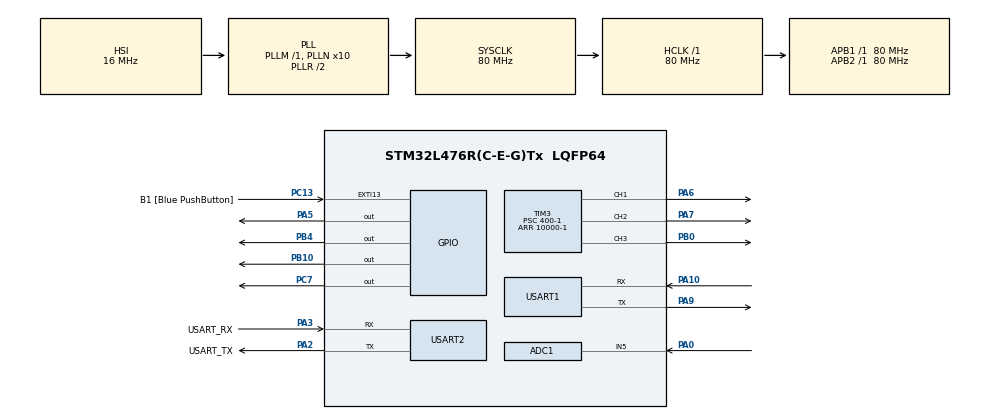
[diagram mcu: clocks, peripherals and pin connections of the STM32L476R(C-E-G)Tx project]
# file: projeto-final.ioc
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ADC1.Channel-0\#ChannelRegularConversion=ADC_CHANNEL_5
ADC1.NbrOfConversionFlag=1
ADC1.OffsetNumber-0\#ChannelRegularConversion=ADC_OFFSET_NONE
ADC1.Rank-0\#ChannelRegularConversion=1
ADC1.SamplingTime-0\#ChannelRegularConversion=ADC_SAMPLETIME_2CYCLES_5
ADC1.master=1
FREERTOS.Tasks01=defaultTask,0,128,StartDefaultTask,Default,NULL,Dynamic,NULL,NULL
FREERTOS.configUSE_NEWLIB_REENTRANT=1
Mcu.Family=STM32L4
Mcu.Name=STM32L476R(C-E-G)Tx
Mcu.Package=LQFP64
NVIC.PriorityGroup=NVIC_PRIORITYGROUP_4
NVIC.TIM1_UP_TIM16_IRQn=true\:15\:0\:false\:false\:true\:false\:false\:true\:true
NVIC.TIM3_IRQn=true\:5\:0\:false\:false\:true\:true\:true\:true\:true
NVIC.TimeBase=TIM1_UP_TIM16_IRQn
NVIC.TimeBaseIP=TIM1
NVIC.USART2_IRQn=true\:5\:0\:false\:false\:true\:true\:true\:true\:true
PA0.Signal=ADCx_IN5
PA10.Mode=Asynchronous
PA10.Signal=USART1_RX
PA13\ (JTMS-SWDIO).GPIO_Label=TMS
PA13\ (JTMS-SWDIO).Mode=Serial_Wire
PA13\ (JTMS-SWDIO).Signal=SYS_JTMS-SWDIO
PA14\ (JTCK-SWCLK).GPIO_Label=TCK
PA14\ (JTCK-SWCLK).Mode=Serial_Wire
PA14\ (JTCK-SWCLK).Signal=SYS_JTCK-SWCLK
PA2.GPIO_Label=USART_TX
PA2.GPIO_Mode=GPIO_MODE_AF_PP
PA2.GPIO_PuPd=GPIO_NOPULL
PA2.GPIO_Speed=GPIO_SPEED_FREQ_VERY_HIGH
PA2.Mode=Asynchronous
PA2.Signal=USART2_TX
PA3.GPIO_Label=USART_RX
PA3.GPIO_Mode=GPIO_MODE_AF_PP
PA3.GPIO_PuPd=GPIO_NOPULL
PA3.GPIO_Speed=GPIO_SPEED_FREQ_VERY_HIGH
PA3.Mode=Asynchronous
PA3.Signal=USART2_RX
PA5.Signal=GPIO_Output
PA6.Signal=S_TIM3_CH1
PA7.Signal=S_TIM3_CH2
PA9.Mode=Asynchronous
PA9.Signal=USART1_TX
PB0.Signal=S_TIM3_CH3
PB10.Signal=GPIO_Output
PB3\ (JTDO-TRACESWO).GPIO_Label=SWO
PB3\ (JTDO-TRACESWO).Signal=SYS_JTDO-SWO
PB4\ (NJTRST).Signal=GPIO_Output
PC13.GPIO_Label=B1 [Blue PushButton]
PC13.GPIO_ModeDefaultEXTI=GPIO_MODE_IT_FALLING
PC13.GPIO_PuPd=GPIO_NOPULL
PC13.Signal=GPXTI13
PC14-OSC32_IN\ (PC14).Mode=LSE-External-Oscillator
PC14-OSC32_IN\ (PC14).Signal=RCC_OSC32_IN
PC15-OSC32_OUT\ (PC15).Mode=LSE-External-Oscillator
PC15-OSC32_OUT\ (PC15).Signal=RCC_OSC32_OUT
PC7.Signal=GPIO_Output
PH0-OSC_IN\ (PH0).Signal=RCC_OSC_IN
PH1-OSC_OUT\ (PH1).Signal=RCC_OSC_OUT
ProjectManager.HeapSize=0x200
ProjectManager.StackSize=0x400
ProjectManager.TargetToolchain=STM32CubeIDE
RCC.ADCFreq_Value=64000000
RCC.AHBFreq_Value=80000000
RCC.APB1Freq_Value=80000000
RCC.APB1TimFreq_Value=80000000
RCC.APB2Freq_Value=80000000
RCC.APB2TimFreq_Value=80000000
RCC.CortexFreq_Value=80000000
RCC.HCLKFreq_Value=80000000
RCC.HSE_VALUE=8000000
RCC.HSI_VALUE=16000000
RCC.MSI_VALUE=4000000
RCC.PLLN=10
RCC.PLLSourceVirtual=RCC_PLLSOURCE_HSI
RCC.PREFETCH_ENABLE=1
RCC.SYSCLKFreq_VALUE=80000000
RCC.SYSCLKSource=RCC_SYSCLKSOURCE_PLLCLK
RCC.USBFreq_Value=64000000
RCC.VCOOutputFreq_Value=160000000
SH.ADCx_IN5.0=ADC1_IN5,IN5-Single-Ended
SH.S_TIM3_CH1.0=TIM3_CH1,PWM Generation1 CH1
SH.S_TIM3_CH2.0=TIM3_CH2,PWM Generation2 CH2
SH.S_TIM3_CH3.0=TIM3_CH3,PWM Generation3 CH3
TIM2.Period=1000-1
TIM2.Prescaler=400-1
TIM3.Channel-PWM\ Generation1\ CH1=TIM_CHANNEL_1
TIM3.Channel-PWM\ Generation2\ CH2=TIM_CHANNEL_2
TIM3.Channel-PWM\ Generation3\ CH3=TIM_CHANNEL_3
TIM3.Period=10000-1
TIM3.Prescaler=400-1
USART1.VirtualMode-Asynchronous=VM_ASYNC
USART2.VirtualMode-Asynchronous=VM_ASYNC
VP_FREERTOS_VS_CMSIS_V1.Mode=CMSIS_V1
VP_SYS_VS_tim1.Mode=TIM1
VP_TIM2_VS_ClockSourceINT.Mode=Internal
VP_TIM3_VS_ClockSourceINT.Mode=Internal
board=NUCLEO-L476RG

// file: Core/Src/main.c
/* USER CODE BEGIN Header */
/**
  ******************************************************************************
  * @file           : main.c
  * @brief          : Main program body
  ******************************************************************************
  * @attention
  *
  * Copyright (c) 2022 STMicroelectronics.
  * All rights reserved.
  *
  * This software is licensed under terms that can be found in the LICENSE file
  * in the root directory of this software component.
  * If no LICENSE file comes with this software, it is provided AS-IS.
  *
  ******************************************************************************
  */
/* USER CODE END Header */
#include "main.h"
#include "cmsis_os.h"

/* USER CODE BEGIN Includes */
#include "stdio.h"
#include "stdlib.h"
#include "string.h"

/* USER CODE END Includes */

ADC_HandleTypeDef hadc1;

TIM_HandleTypeDef htim2;
TIM_HandleTypeDef htim3;

UART_HandleTypeDef huart1;
UART_HandleTypeDef huart2;

osThreadId defaultTaskHandle;

void SystemClock_Config(void);
static void MX_GPIO_Init(void);
static void MX_USART2_UART_Init(void);
static void MX_ADC1_Init(void);
static void MX_TIM2_Init(void);
static void MX_TIM3_Init(void);
static void MX_USART1_UART_Init(void);
void StartDefaultTask(void const * argument);

/* USER CODE BEGIN 0 */
/* USER CODE BEGIN 0 */

void sendChar(unsigned char c, int uart_number){
	unsigned char pChar = c;
	if(uart_number == 1)
		HAL_UART_Transmit(&huart1, &pChar,1 ,HAL_MAX_DELAY );
	else if(uart_number == 2)
		HAL_UART_Transmit(&huart2, &pChar, 1,HAL_MAX_DELAY );
}

void sendString(char * str, int uart_number){
	if(uart_number == 1)
		HAL_UART_Transmit(&huart1, (uint8_t *)str, strlen(str) ,HAL_MAX_DELAY );
	else if(uart_number == 2)
		HAL_UART_Transmit(&huart2, (uint8_t *)str, strlen(str) ,HAL_MAX_DELAY );
}

char readChar(int uart_number){
	unsigned char caracter = 255;

	if(uart_number == 1){
		HAL_UART_Receive(&huart1, &caracter, 1, 0);
	}
	else if(uart_number == 2){
		while(HAL_UART_Receive(&huart2, &caracter, 1, HAL_MAX_DELAY) != HAL_OK);
	}
	return caracter;
}

void recebe_da_node_mcu(void *vParam){
	unsigned char caracter;
	while(1){
		//Aguarda receber um caracter da UART1 que esta conectada ao Node MCU
		caracter = readChar(1);
		if (caracter == '1') {
			HAL_GPIO_WritePin(GPIOC, GPIO_PIN_7, 1);
//			HAL_GPIO_TogglePin(GPIOB, GPIO_PIN_4);
		} else if (caracter == '0'){
//			HAL_GPIO_WritePin(GPIOB, GPIO_PIN_10, 1); //verde
			HAL_GPIO_WritePin(GPIOC, GPIO_PIN_7, 0);
		}
		vTaskDelay(1);
	}
}

void envia_para_node_mcu( void *vParam){
	unsigned char caracter;

	while(1){
		//Aguarda receber um carcater do terminal serial
		caracter = readChar(2);
		//Envia o caracter para a UART 1 que está conectada a placa NodemCU
		sendChar(caracter, 1);
		vTaskDelay(1);
	}
}

int16_t readVoltage(void) {
	HAL_ADC_Start(&hadc1);
	HAL_ADC_PollForConversion(&hadc1, HAL_MAX_DELAY);
	return HAL_ADC_GetValue(&hadc1);
}

//void set_rgb (uint8_t red, uint8_t green, uint8_t blue)
//{
//	htim2.Instance->CCR1 = red;
//	htim2.Instance->CCR2 = green;
//	htim2.Instance->CCR3 = blue;
//}

//void acender_rgb()
//{
//	set_rgb(0, 255, 0);
//}

/* @brief Period elapsed callback in non blocking mode * @param htim: TIM handle
* @retval None
*/
//void HAL_TIM_PeriodElapsedCallback(TIM_HandleTypeDef *htim) {
//	if (htim->Instance == htim3.Instance) {
//		/* Toggle LED */
//		HAL_GPIO_TogglePin(GPIOA, GPIO_PIN_5);
//	}
//}

/* USER CODE END 0 */

int main(void)
{

  /* MCU Configuration--------------------------------------------------------*/

  /* Reset of all peripherals, Initializes the Flash interface and the Systick. */
  HAL_Init();

  /* Configure the system clock */
  SystemClock_Config();

  /* Initialize all configured peripherals */
  MX_GPIO_Init();
  MX_USART2_UART_Init();
  MX_ADC1_Init();
  MX_TIM2_Init();
  MX_TIM3_Init();
  MX_USART1_UART_Init();
  /* USER CODE BEGIN 2 */
  HAL_TIM_Base_Start_IT(&htim3);
  HAL_TIM_PWM_Start(&htim2, TIM_CHANNEL_2);
  HAL_TIM_PWM_Start(&htim2, TIM_CHANNEL_1);
  HAL_TIM_PWM_Start(&htim2, TIM_CHANNEL_3);
  /* USER CODE END 2 */

  /* Create the thread(s) */
  /* definition and creation of defaultTask */
  osThreadDef(defaultTask, StartDefaultTask, osPriorityNormal, 0, 128);
  defaultTaskHandle = osThreadCreate(osThread(defaultTask), NULL);

  /* USER CODE BEGIN RTOS_THREADS */

  xTaskCreate(recebe_da_node_mcu,
		  /* Nome da funcao que executa a task */
		  "recebe_da_node_mcu", /* Nome descritivo */
		  configMINIMAL_STACK_SIZE,
		  /* tamanho da pilha da task */
		  NULL, /* parametro para a task */
		  tskIDLE_PRIORITY, /* nivel de prioridade */
		  NULL); /* ponteiro para o handle da task */

  xTaskCreate(envia_para_node_mcu, /* Nome da funcao que executa a task */
		  "envia_para_node_mcu", /* Nome descritivo */
		  configMINIMAL_STACK_SIZE, /* tamanho da pilha da task */
		  NULL, /* parametro para a task */
		  tskIDLE_PRIORITY, /* nivel de prioridade */
 	  	  NULL); /* ponteiro para o handle da task */

//  xTaskCreate(acender_rgb, /* Nome da funcao que executa a task */
// 		  "envia_para_node_mcu", /* Nome descritivo */
// 		  configMINIMAL_STACK_SIZE, /* tamanho da pilha da task */
// 		  NULL, /* parametro para a task */
// 		  tskIDLE_PRIORITY, /* nivel de prioridade */
//  	  	  NULL); /* ponteiro para o handle da task */

  /* add threads, ... */
  /* USER CODE END RTOS_THREADS */

  /* Start scheduler */
  osKernelStart();

  /* We should never get here as control is now taken by the scheduler */
  /* Infinite loop */
  /* USER CODE BEGIN WHILE */
  while (1)
  {
//	  set_rgb (255,0,0);   // red only
//	  HAL_Delay (1000);
//
//	  set_rgb (0,255,0);   // green only
//	  HAL_Delay (1000);
//
//	  set_rgb (0,0,255);  // blue only
//	  HAL_Delay (1000);
//
//	  set_rgb (255,255,0);
//	  HAL_Delay(1000);
//
//	  set_rgb (0,255,255);
//	  HAL_Delay (1000);
//
//	  set_rgb (255,0,255);
//	  HAL_Delay (1000);
//
//	  set_rgb (192,192,192);
//	  HAL_Delay (1000);
//    /* USER CODE END WHILE */
//
//    /* USER CODE BEGIN 3 */
  }
  /* USER CODE END 3 */
}

void SystemClock_Config(void)
{
  RCC_OscInitTypeDef RCC_OscInitStruct = {0};
  RCC_ClkInitTypeDef RCC_ClkInitStruct = {0};

  /** Configure the main internal regulator output voltage
  */
  if (HAL_PWREx_ControlVoltageScaling(PWR_REGULATOR_VOLTAGE_SCALE1) != HAL_OK)
  {
    Error_Handler();
  }

  /** Initializes the RCC Oscillators according to the specified parameters
  * in the RCC_OscInitTypeDef structure.
  */
  RCC_OscInitStruct.OscillatorType = RCC_OSCILLATORTYPE_HSI;
  RCC_OscInitStruct.HSIState = RCC_HSI_ON;
  RCC_OscInitStruct.HSICalibrationValue = RCC_HSICALIBRATION_DEFAULT;
  RCC_OscInitStruct.PLL.PLLState = RCC_PLL_ON;
  RCC_OscInitStruct.PLL.PLLSource = RCC_PLLSOURCE_HSI;
  RCC_OscInitStruct.PLL.PLLM = 1;
  RCC_OscInitStruct.PLL.PLLN = 10;
  RCC_OscInitStruct.PLL.PLLP = RCC_PLLP_DIV7;
  RCC_OscInitStruct.PLL.PLLQ = RCC_PLLQ_DIV2;
  RCC_OscInitStruct.PLL.PLLR = RCC_PLLR_DIV2;
  if (HAL_RCC_OscConfig(&RCC_OscInitStruct) != HAL_OK)
  {
    Error_Handler();
  }

  /** Initializes the CPU, AHB and APB buses clocks
  */
  RCC_ClkInitStruct.ClockType = RCC_CLOCKTYPE_HCLK|RCC_CLOCKTYPE_SYSCLK
                              |RCC_CLOCKTYPE_PCLK1|RCC_CLOCKTYPE_PCLK2;
  RCC_ClkInitStruct.SYSCLKSource = RCC_SYSCLKSOURCE_PLLCLK;
  RCC_ClkInitStruct.AHBCLKDivider = RCC_SYSCLK_DIV1;
  RCC_ClkInitStruct.APB1CLKDivider = RCC_HCLK_DIV1;
  RCC_ClkInitStruct.APB2CLKDivider = RCC_HCLK_DIV1;

  if (HAL_RCC_ClockConfig(&RCC_ClkInitStruct, FLASH_LATENCY_4) != HAL_OK)
  {
    Error_Handler();
  }
}

static void MX_ADC1_Init(void)
{

  ADC_MultiModeTypeDef multimode = {0};
  ADC_ChannelConfTypeDef sConfig = {0};

  /** Common config
  */
  hadc1.Instance = ADC1;
  hadc1.Init.ClockPrescaler = ADC_CLOCK_ASYNC_DIV1;
  hadc1.Init.Resolution = ADC_RESOLUTION_12B;
  hadc1.Init.DataAlign = ADC_DATAALIGN_RIGHT;
  hadc1.Init.ScanConvMode = ADC_SCAN_DISABLE;
  hadc1.Init.EOCSelection = ADC_EOC_SINGLE_CONV;
  hadc1.Init.LowPowerAutoWait = DISABLE;
  hadc1.Init.ContinuousConvMode = DISABLE;
  hadc1.Init.NbrOfConversion = 1;
  hadc1.Init.DiscontinuousConvMode = DISABLE;
  hadc1.Init.ExternalTrigConv = ADC_SOFTWARE_START;
  hadc1.Init.ExternalTrigConvEdge = ADC_EXTERNALTRIGCONVEDGE_NONE;
  hadc1.Init.DMAContinuousRequests = DISABLE;
  hadc1.Init.Overrun = ADC_OVR_DATA_PRESERVED;
  hadc1.Init.OversamplingMode = DISABLE;
  if (HAL_ADC_Init(&hadc1) != HAL_OK)
  {
    Error_Handler();
  }

  /** Configure the ADC multi-mode
  */
  multimode.Mode = ADC_MODE_INDEPENDENT;
  if (HAL_ADCEx_MultiModeConfigChannel(&hadc1, &multimode) != HAL_OK)
  {
    Error_Handler();
  }

  /** Configure Regular Channel
  */
  sConfig.Channel = ADC_CHANNEL_5;
  sConfig.Rank = ADC_REGULAR_RANK_1;
  sConfig.SamplingTime = ADC_SAMPLETIME_2CYCLES_5;
  sConfig.SingleDiff = ADC_SINGLE_ENDED;
  sConfig.OffsetNumber = ADC_OFFSET_NONE;
  sConfig.Offset = 0;
  if (HAL_ADC_ConfigChannel(&hadc1, &sConfig) != HAL_OK)
  {
    Error_Handler();
  }

}

static void MX_TIM2_Init(void)
{

  TIM_ClockConfigTypeDef sClockSourceConfig = {0};
  TIM_MasterConfigTypeDef sMasterConfig = {0};

  htim2.Instance = TIM2;
  htim2.Init.Prescaler = 400-1;
  htim2.Init.CounterMode = TIM_COUNTERMODE_UP;
  htim2.Init.Period = 1000-1;
  htim2.Init.ClockDivision = TIM_CLOCKDIVISION_DIV1;
  htim2.Init.AutoReloadPreload = TIM_AUTORELOAD_PRELOAD_DISABLE;
  if (HAL_TIM_Base_Init(&htim2) != HAL_OK)
  {
    Error_Handler();
  }
  sClockSourceConfig.ClockSource = TIM_CLOCKSOURCE_INTERNAL;
  if (HAL_TIM_ConfigClockSource(&htim2, &sClockSourceConfig) != HAL_OK)
  {
    Error_Handler();
  }
  sMasterConfig.MasterOutputTrigger = TIM_TRGO_RESET;
  sMasterConfig.MasterSlaveMode = TIM_MASTERSLAVEMODE_DISABLE;
  if (HAL_TIMEx_MasterConfigSynchronization(&htim2, &sMasterConfig) != HAL_OK)
  {
    Error_Handler();
  }

}

static void MX_TIM3_Init(void)
{

  TIM_ClockConfigTypeDef sClockSourceConfig = {0};
  TIM_MasterConfigTypeDef sMasterConfig = {0};
  TIM_OC_InitTypeDef sConfigOC = {0};

  htim3.Instance = TIM3;
  htim3.Init.Prescaler = 400-1;
  htim3.Init.CounterMode = TIM_COUNTERMODE_UP;
  htim3.Init.Period = 10000-1;
  htim3.Init.ClockDivision = TIM_CLOCKDIVISION_DIV1;
  htim3.Init.AutoReloadPreload = TIM_AUTORELOAD_PRELOAD_DISABLE;
  if (HAL_TIM_Base_Init(&htim3) != HAL_OK)
  {
    Error_Handler();
  }
  sClockSourceConfig.ClockSource = TIM_CLOCKSOURCE_INTERNAL;
  if (HAL_TIM_ConfigClockSource(&htim3, &sClockSourceConfig) != HAL_OK)
  {
    Error_Handler();
  }
  if (HAL_TIM_PWM_Init(&htim3) != HAL_OK)
  {
    Error_Handler();
  }
  sMasterConfig.MasterOutputTrigger = TIM_TRGO_RESET;
  sMasterConfig.MasterSlaveMode = TIM_MASTERSLAVEMODE_DISABLE;
  if (HAL_TIMEx_MasterConfigSynchronization(&htim3, &sMasterConfig) != HAL_OK)
  {
    Error_Handler();
  }
  sConfigOC.OCMode = TIM_OCMODE_PWM1;
  sConfigOC.Pulse = 0;
  sConfigOC.OCPolarity = TIM_OCPOLARITY_HIGH;
  sConfigOC.OCFastMode = TIM_OCFAST_DISABLE;
  if (HAL_TIM_PWM_ConfigChannel(&htim3, &sConfigOC, TIM_CHANNEL_1) != HAL_OK)
  {
    Error_Handler();
  }
  if (HAL_TIM_PWM_ConfigChannel(&htim3, &sConfigOC, TIM_CHANNEL_2) != HAL_OK)
  {
    Error_Handler();
  }
  if (HAL_TIM_PWM_ConfigChannel(&htim3, &sConfigOC, TIM_CHANNEL_3) != HAL_OK)
  {
    Error_Handler();
  }
  HAL_TIM_MspPostInit(&htim3);

}

static void MX_USART1_UART_Init(void)
{

  huart1.Instance = USART1;
  huart1.Init.BaudRate = 115200;
  huart1.Init.WordLength = UART_WORDLENGTH_8B;
  huart1.Init.StopBits = UART_STOPBITS_1;
  huart1.Init.Parity = UART_PARITY_NONE;
  huart1.Init.Mode = UART_MODE_TX_RX;
  huart1.Init.HwFlowCtl = UART_HWCONTROL_NONE;
  huart1.Init.OverSampling = UART_OVERSAMPLING_16;
  huart1.Init.OneBitSampling = UART_ONE_BIT_SAMPLE_DISABLE;
  huart1.AdvancedInit.AdvFeatureInit = UART_ADVFEATURE_NO_INIT;
  if (HAL_UART_Init(&huart1) != HAL_OK)
  {
    Error_Handler();
  }

}

static void MX_USART2_UART_Init(void)
{

  huart2.Instance = USART2;
  huart2.Init.BaudRate = 115200;
  huart2.Init.WordLength = UART_WORDLENGTH_8B;
  huart2.Init.StopBits = UART_STOPBITS_1;
  huart2.Init.Parity = UART_PARITY_NONE;
  huart2.Init.Mode = UART_MODE_TX_RX;
  huart2.Init.HwFlowCtl = UART_HWCONTROL_NONE;
  huart2.Init.OverSampling = UART_OVERSAMPLING_16;
  huart2.Init.OneBitSampling = UART_ONE_BIT_SAMPLE_DISABLE;
  huart2.AdvancedInit.AdvFeatureInit = UART_ADVFEATURE_NO_INIT;
  if (HAL_UART_Init(&huart2) != HAL_OK)
  {
    Error_Handler();
  }

}

static void MX_GPIO_Init(void)
{
  GPIO_InitTypeDef GPIO_InitStruct = {0};

  /* GPIO Ports Clock Enable */
  __HAL_RCC_GPIOC_CLK_ENABLE();
  __HAL_RCC_GPIOH_CLK_ENABLE();
  __HAL_RCC_GPIOA_CLK_ENABLE();
  __HAL_RCC_GPIOB_CLK_ENABLE();

  /*Configure GPIO pin Output Level */
  HAL_GPIO_WritePin(GPIOA, GPIO_PIN_5, GPIO_PIN_RESET);

  /*Configure GPIO pin Output Level */
  HAL_GPIO_WritePin(GPIOB, GPIO_PIN_10|GPIO_PIN_4, GPIO_PIN_RESET);

  /*Configure GPIO pin Output Level */
  HAL_GPIO_WritePin(GPIOC, GPIO_PIN_7, GPIO_PIN_RESET);

  /*Configure GPIO pin : B1_Pin */
  GPIO_InitStruct.Pin = B1_Pin;
  GPIO_InitStruct.Mode = GPIO_MODE_IT_FALLING;
  GPIO_InitStruct.Pull = GPIO_NOPULL;
  HAL_GPIO_Init(B1_GPIO_Port, &GPIO_InitStruct);

  /*Configure GPIO pin : PA5 */
  GPIO_InitStruct.Pin = GPIO_PIN_5;
  GPIO_InitStruct.Mode = GPIO_MODE_OUTPUT_PP;
  GPIO_InitStruct.Pull = GPIO_NOPULL;
  GPIO_InitStruct.Speed = GPIO_SPEED_FREQ_LOW;
  HAL_GPIO_Init(GPIOA, &GPIO_InitStruct);

  /*Configure GPIO pins : PB10 PB4 */
  GPIO_InitStruct.Pin = GPIO_PIN_10|GPIO_PIN_4;
  GPIO_InitStruct.Mode = GPIO_MODE_OUTPUT_PP;
  GPIO_InitStruct.Pull = GPIO_NOPULL;
  GPIO_InitStruct.Speed = GPIO_SPEED_FREQ_LOW;
  HAL_GPIO_Init(GPIOB, &GPIO_InitStruct);

  /*Configure GPIO pin : PC7 */
  GPIO_InitStruct.Pin = GPIO_PIN_7;
  GPIO_InitStruct.Mode = GPIO_MODE_OUTPUT_PP;
  GPIO_InitStruct.Pull = GPIO_NOPULL;
  GPIO_InitStruct.Speed = GPIO_SPEED_FREQ_LOW;
  HAL_GPIO_Init(GPIOC, &GPIO_InitStruct);

}

void StartDefaultTask(void const * argument)
{
  for(;;)
  {
    osDelay(1);
  }
}

void HAL_TIM_PeriodElapsedCallback(TIM_HandleTypeDef *htim)
{
  if (htim->Instance == TIM1) {
    HAL_IncTick();
  }

  /* USER CODE BEGIN Callback 1 */
  if (htim->Instance == TIM3)
  {
    /* Toggle LED */
//	  HAL_GPIO_TogglePin(GPIOB, GPIO_PIN_10); //verde
//	  HAL_GPIO_TogglePin(GPIOB, GPIO_PIN_4);
//	  HAL_GPIO_TogglePin(GPIOC, GPIO_PIN_7); //azul

  }
  /* USER CODE END Callback 1 */
}

void Error_Handler(void)
{
  __disable_irq();
  while (1)
  {
  }
}
